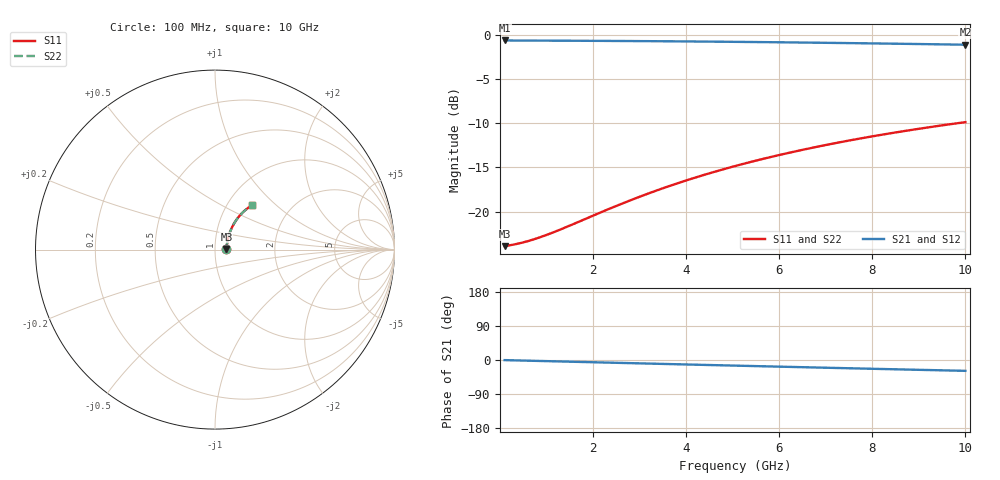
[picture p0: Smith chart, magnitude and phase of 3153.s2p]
# Hz S RI R 50.00
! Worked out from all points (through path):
!   100 points, 100 MHz to 10 GHz, reference 50 ohm
!   highest |S21| = -0.57 dB at 100 MHz (marker M1); lowest = -1.1 dB at 10 GHz (marker M2)
!   group delay of S21, straight-line fit = 7.97 ps
!   lowest |S11| = -23.9 dB at 100 MHz (marker M3), VSWR 1.14, Z = 56.8 + j0.353 ohm
!   |S11| at or under -10 dB: start of sweep to 9.79 GHz
!   |S22| runs from -23.9 to -9.8 dB; largest |S21 - S12| = 0
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1e8  0.0635 0.0031  0.9365 -0.00486  0.9365 -0.00486  0.0635 0.0031
3e8  0.0643 0.00927  0.9357 -0.0146  0.9357 -0.0146  0.0643 0.00927
5e8  0.065 0.0154  0.935 -0.0242  0.935 -0.0242  0.065 0.0154
8e8  0.0661 0.0246  0.9338 -0.0387  0.9338 -0.0387  0.0661 0.0246
1e9  0.0669 0.0307  0.9329 -0.0483  0.9329 -0.0483  0.0669 0.0307
1.2e9  0.0678 0.0368  0.932 -0.058  0.932 -0.058  0.0678 0.0368
1.8e9  0.0712 0.055  0.9283 -0.0867  0.9283 -0.0867  0.0712 0.055
2.3e9  0.0748 0.0698  0.9244 -0.1103  0.9244 -0.1103  0.0748 0.0698
2.7e9  0.0781 0.0816  0.9207 -0.1291  0.9207 -0.1291  0.0781 0.0816
3.1e9  0.082 0.0931  0.9165 -0.1478  0.9165 -0.1478  0.082 0.0931
3.4e9  0.0851 0.1017  0.913 -0.1616  0.913 -0.1616  0.0851 0.1017
3.8e9  0.0897 0.1129  0.9079 -0.1799  0.9079 -0.1799  0.0897 0.1129
4.2e9  0.0947 0.1239  0.9024 -0.1979  0.9024 -0.1979  0.0947 0.1239
4.6e9  0.1002 0.1346  0.8964 -0.2157  0.8964 -0.2157  0.1002 0.1346
5.1e9  0.1076 0.1476  0.8882 -0.2375  0.8882 -0.2375  0.1076 0.1476
5.5e9  0.1139 0.1577  0.8812 -0.2547  0.8812 -0.2547  0.1139 0.1577
5.9e9  0.1206 0.1674  0.8737 -0.2715  0.8737 -0.2715  0.1206 0.1674
6.7e9  0.135 0.186  0.8577 -0.3043  0.8577 -0.3043  0.135 0.186
7.5e9  0.1507 0.2032  0.8401 -0.3357  0.8401 -0.3357  0.1507 0.2032
8.4e9  0.1697 0.2207  0.8188 -0.3693  0.8188 -0.3693  0.1697 0.2207
9.2e9  0.1875 0.2347  0.7987 -0.3975  0.7987 -0.3975  0.1875 0.2347
1e10  0.2061 0.2471  0.7775 -0.4243  0.7775 -0.4243  0.2061 0.2471
